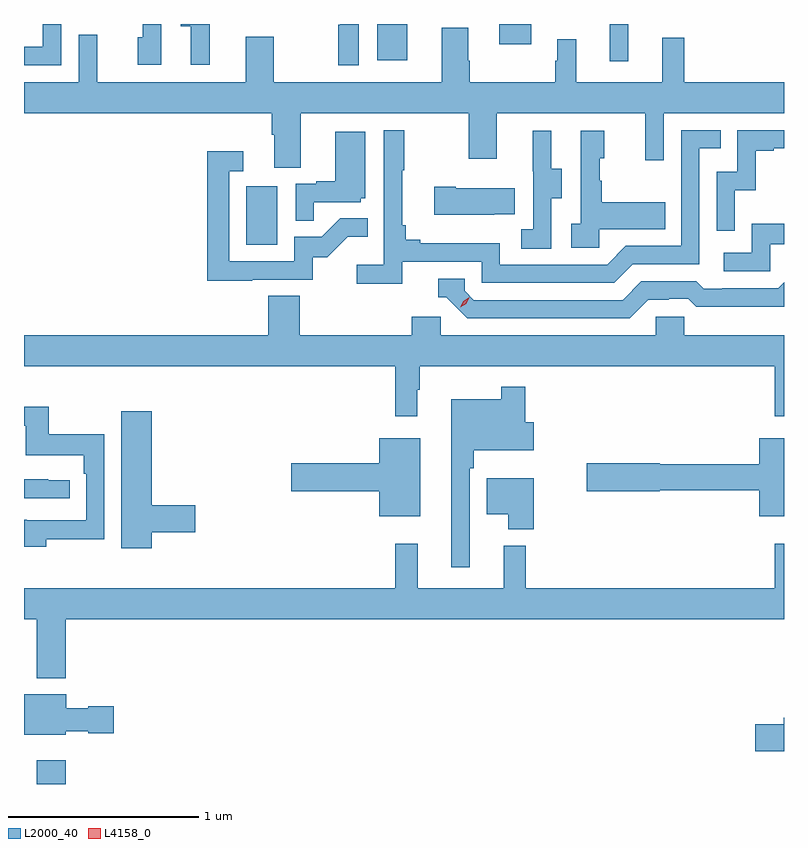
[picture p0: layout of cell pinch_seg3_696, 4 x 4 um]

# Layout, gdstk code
import gdstk
lib = gdstk.Library(unit=1e-6, precision=1e-09)
def R(c, l, rs):  # rectangles x0, y0, x1, y1
    for r in rs: c.add(gdstk.rectangle(r[:2], r[2:], *l))
def P(c, l, *ps):  # polygons
    for p in ps: c.add(gdstk.Polygon(p, *l))
L2000_40 = (2000, 40)
L4158_0 = (4158, 0)

pinch_seg3_696 = lib.new_cell('pinch_seg3_696')
R(pinch_seg3_696, L2000_40, [(1125.701,680.07,1125.854,680.194), (1126.802,682.908,1126.966,683.215), (1128.717,683.874,1128.814,684.07), (1127.492,683.88,1127.65,684.07)])
P(pinch_seg3_696, L2000_40, [(1128.303,684.07),(1128.207,684.07),(1128.207,684.069),(1128.135,684.069),(1128.135,683.964),(1128.303,683.964)],
  [(1126.356,684.07),(1126.258,684.07),(1126.258,684),(1126.232,684),(1126.232,683.856),(1126.356,683.856)],
  [(1126.61,684.069),(1126.608,684.069),(1126.608,684.07),(1126.457,684.07),(1126.457,684.058),(1126.511,684.058),(1126.511,683.856),(1126.61,683.856)],
  [(1125.828,684.07),(1125.732,684.07),(1125.732,683.949),(1125.633,683.949),(1125.633,683.853),(1125.828,683.853)],
  [(1127.394,684.07),(1127.297,684.07),(1127.297,684.065),(1127.286,684.065),(1127.286,683.853),(1127.394,683.853)],
  [(1127.089,683.6),(1127.974,683.6),(1127.974,683.361),(1128.121,683.361),(1128.121,683.6),(1128.902,683.6),(1128.902,683.352),(1128.999,683.352),(1128.999,683.6),(1129.633,683.6),(1129.633,683.764),(1129.109,683.764),(1129.109,683.998),(1128.992,683.998),(1128.992,683.764),(1128.539,683.764),(1128.539,683.989),(1128.44,683.989),(1128.44,683.876),(1128.429,683.876),(1128.429,683.764),(1127.979,683.764),(1127.979,683.876),(1127.971,683.876),(1127.971,684.05),(1127.831,684.05),(1127.831,683.764),(1126.947,683.764),(1126.947,684.004),(1126.799,684.004),(1126.799,683.764),(1126.019,683.764),(1126.019,684.013),(1125.921,684.013),(1125.921,683.764),(1125.633,683.764),(1125.633,683.6),(1126.937,683.6),(1126.937,683.488),(1126.949,683.488),(1126.949,683.314),(1127.089,683.314)],
  [(1127.624,682.818),(1128.042,682.818),(1128.042,682.707),(1128.739,682.707),(1128.838,682.806),(1129.188,682.806),(1129.188,683.415),(1129.301,683.415),(1129.301,683.511),(1129.092,683.511),(1129.092,682.902),(1128.801,682.902),(1128.702,682.803),(1128.138,682.803),(1128.138,682.915),(1127.719,682.915),(1127.719,682.934),(1127.642,682.934),(1127.642,683.011),(1127.623,683.011),(1127.623,683.299),(1127.635,683.299),(1127.635,683.512),(1127.526,683.512),(1127.526,682.804),(1127.385,682.804),(1127.385,682.702),(1127.624,682.702)],
  [(1129.374,683.195),(1129.484,683.195),(1129.484,683.403),(1129.579,683.403),(1129.579,683.415),(1129.633,683.415),(1129.633,683.511),(1129.386,683.511),(1129.386,683.292),(1129.278,683.292),(1129.278,682.983),(1129.374,682.983)],
  [(1128.66,682.991),(1129.007,682.991),(1129.007,683.131),(1128.673,683.131),(1128.673,683.246),(1128.663,683.246),(1128.663,683.364),(1128.688,683.364),(1128.688,683.509),(1128.564,683.509),(1128.564,683.018),(1128.513,683.018),(1128.513,682.893),(1128.66,682.893)],
  [(1128.408,683.152),(1128.463,683.152),(1128.463,683.307),(1128.409,683.307),(1128.409,683.509),(1128.311,683.509),(1128.311,683.295),(1128.312,683.295),(1128.312,682.991),(1128.249,682.991),(1128.249,682.888),(1128.408,682.888)],
  [(1127.159,683.133),(1127.406,683.133),(1127.406,683.154),(1127.428,683.154),(1127.428,683.503),(1127.27,683.503),(1127.27,683.242),(1127.171,683.242),(1127.171,683.229),(1127.064,683.229),(1127.064,683.035),(1127.159,683.035)],
  [(1126.835,682.725),(1127.154,682.725),(1127.154,682.842),(1127.23,682.842),(1127.337,682.949),(1127.441,682.949),(1127.441,683.048),(1127.297,683.048),(1127.199,682.95),(1127.055,682.95),(1127.055,682.821),(1126.713,682.821),(1126.713,683.295),(1126.786,683.295),(1126.786,683.401),(1126.597,683.401),(1126.597,682.72),(1126.835,682.72)],
  [(1128.107,683.069),(1128.215,683.069),(1128.215,683.206),(1127.905,683.206),(1127.905,683.214),(1127.793,683.214),(1127.793,683.066),(1128.107,683.066)],
  [(1129.56,682.911),(1129.633,682.911),(1129.633,683.02),(1129.464,683.02),(1129.464,682.866),(1129.317,682.866),(1129.317,682.77),(1129.56,682.77)],
  [(1128.919,682.62),(1129.026,682.62),(1129.026,682.623),(1129.129,682.623),(1129.171,682.581),(1129.404,682.581),(1129.404,682.583),(1129.633,682.583),(1129.633,682.711),(1129.602,682.68),(1129.309,682.68),(1129.309,682.677),(1129.21,682.677),(1129.171,682.716),(1128.882,682.716),(1128.783,682.617),(1128,682.617),(1127.952,682.665),(1127.952,682.728),(1127.813,682.728),(1127.813,682.632),(1127.856,682.632),(1127.967,682.521),(1128.82,682.521)],
  [(1127.704,682.145),(1127.716,682.145),(1127.716,682.268),(1129.585,682.268),(1129.585,682.005),(1129.633,682.005),(1129.633,682.432),(1129.107,682.432),(1129.107,682.53),(1128.957,682.53),(1128.957,682.432),(1127.826,682.432),(1127.826,682.53),(1127.675,682.53),(1127.675,682.432),(1127.084,682.432),(1127.084,682.64),(1126.919,682.64),(1126.919,682.432),(1125.633,682.432),(1125.633,682.268),(1127.587,682.268),(1127.587,682.005),(1127.704,682.005)],
  [(1127.979,681.731),(1127.999,681.731),(1127.999,681.827),(1128.316,681.827),(1128.316,681.975),(1128.272,681.975),(1128.272,682.162),(1128.144,682.162),(1128.144,682.096),(1127.882,682.096),(1127.882,681.21),(1127.979,681.21)],
  [(1125.751,681.358),(1126.056,681.358),(1126.056,681.91),(1125.763,681.91),(1125.763,682.056),(1125.633,682.056),(1125.633,681.955),(1125.642,681.955),(1125.642,681.8),(1125.947,681.8),(1125.947,681.704),(1125.96,681.704),(1125.96,681.459),(1125.647,681.459),(1125.647,681.46),(1125.633,681.46),(1125.633,681.32),(1125.751,681.32)],
  [(1126.306,681.394),(1126.534,681.394),(1126.534,681.536),(1126.306,681.536),(1126.306,682.033),(1126.145,682.033),(1126.145,681.312),(1126.306,681.312)],
  [(1127.719,681.889),(1127.504,681.889),(1127.504,681.758),(1127.04,681.758),(1127.04,681.611),(1127.504,681.611),(1127.504,681.479),(1127.719,681.479)],
  [(1129.633,681.889),(1129.502,681.889),(1129.502,681.752),(1128.978,681.752),(1128.978,681.758),(1128.594,681.758),(1128.594,681.611),(1128.978,681.611),(1128.978,681.616),(1129.502,681.616),(1129.502,681.479),(1129.633,681.479)],
  [(1128.317,681.679),(1128.068,681.679),(1128.068,681.491),(1128.182,681.491),(1128.182,681.41),(1128.317,681.41)],
  [(1125.874,681.669),(1125.761,681.669),(1125.761,681.674),(1125.633,681.674),(1125.633,681.573),(1125.874,681.573)],
  [(1125.854,680.936),(1129.633,680.936),(1129.633,681.334),(1129.585,681.334),(1129.585,681.1),(1128.275,681.1),(1128.275,681.325),(1128.158,681.325),(1128.158,681.1),(1127.705,681.1),(1127.705,681.334),(1127.587,681.334),(1127.587,681.1),(1125.633,681.1),(1125.633,680.936),(1125.701,680.936),(1125.701,680.627),(1125.854,680.627)],
  [(1125.852,680.348),(1125.972,680.348),(1125.972,680.336),(1126.105,680.336),(1126.105,680.478),(1125.972,680.478),(1125.972,680.47),(1125.856,680.47),(1125.856,680.542),(1125.633,680.542),(1125.633,680.33),(1125.852,680.33)],
  [(1129.633,680.42),(1129.631,680.42),(1129.631,680.384),(1129.482,680.384),(1129.482,680.242),(1129.633,680.242)])
P(pinch_seg3_696, L4158_0, [(1127.93,682.578),(1127.93,682.578),(1127.946,682.611),(1127.977,682.631),(1127.977,682.631),(1127.977,682.63),(1127.961,682.598),(1127.93,682.578)])

lib.write_gds('pinch_seg3_696.gds')
